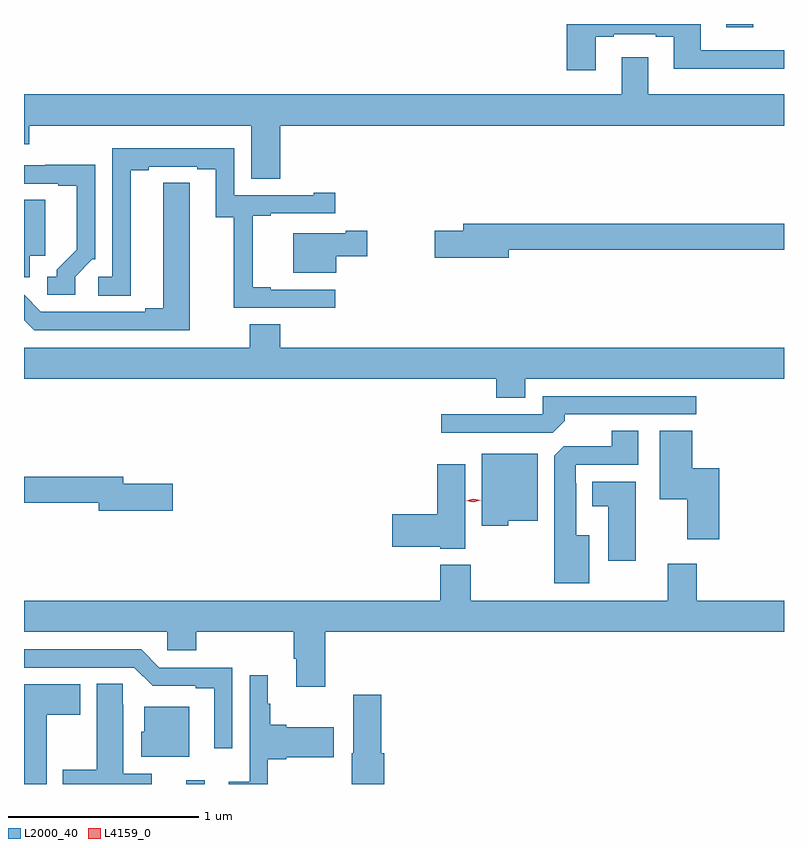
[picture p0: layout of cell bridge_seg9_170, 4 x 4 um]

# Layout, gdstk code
import gdstk
lib = gdstk.Library(unit=1e-6, precision=1e-09)
def R(c, l, rs):  # rectangles x0, y0, x1, y1
    for r in rs: c.add(gdstk.rectangle(r[:2], r[2:], *l))
def P(c, l, *ps):  # polygons
    for p in ps: c.add(gdstk.Polygon(p, *l))
L2000_40 = (2000, 40)
L4159_0 = (4159, 0)

bridge_seg9_170 = lib.new_cell('bridge_seg9_170')
R(bridge_seg9_170, L2000_40, [(215.087,1227.587,215.184,1227.607), (217.931,1231.569,218.071,1231.587)])
P(bridge_seg9_170, L2000_40, [(217.243,1231.521),(217.339,1231.521),(217.339,1231.533),(217.559,1231.533),(217.559,1231.521),(217.655,1231.521),(217.655,1231.352),(218.234,1231.352),(218.234,1231.449),(217.795,1231.449),(217.795,1231.587),(217.091,1231.587),(217.091,1231.344),(217.243,1231.344)],
  [(214.234,1230.954),(214.262,1230.954),(214.262,1231.052),(215.429,1231.052),(215.429,1230.772),(215.582,1230.772),(215.582,1231.052),(218.234,1231.052),(218.234,1231.216),(217.519,1231.216),(217.519,1231.411),(217.379,1231.411),(217.379,1231.216),(214.234,1231.216)],
  [(215.872,1230.189),(215.533,1230.189),(215.533,1230.202),(215.438,1230.202),(215.438,1230.579),(215.533,1230.579),(215.533,1230.591),(215.872,1230.591),(215.872,1230.7),(215.759,1230.7),(215.759,1230.687),(215.34,1230.687),(215.34,1230.933),(214.698,1230.933),(214.698,1230.258),(214.626,1230.258),(214.626,1230.157),(214.795,1230.157),(214.795,1230.817),(214.891,1230.817),(214.891,1230.837),(215.147,1230.837),(215.147,1230.822),(215.243,1230.822),(215.243,1230.571),(215.338,1230.571),(215.338,1230.093),(215.872,1230.093)],
  [(214.503,1230.258),(214.593,1230.348),(214.608,1230.348),(214.608,1230.845),(214.345,1230.845),(214.345,1230.843),(214.234,1230.843),(214.234,1230.747),(214.415,1230.747),(214.415,1230.735),(214.511,1230.735),(214.511,1230.398),(214.406,1230.293),(214.406,1230.258),(214.356,1230.258),(214.356,1230.162),(214.503,1230.162)],
  [(215.107,1230.644),(215.106,1230.644),(215.106,1230.752),(214.967,1230.752),(214.967,1230.092),(214.871,1230.092),(214.871,1230.072),(214.323,1230.072),(214.234,1230.161),(214.234,1230.029),(214.287,1229.976),(215.107,1229.976)],
  [(214.264,1230.368),(214.345,1230.368),(214.345,1230.662),(214.234,1230.662),(214.234,1230.253),(214.264,1230.253)],
  [(216.784,1230.4),(218.234,1230.4),(218.234,1230.536),(216.545,1230.536),(216.545,1230.5),(216.396,1230.5),(216.396,1230.358),(216.784,1230.358)],
  [(215.878,1230.365),(216.04,1230.365),(216.04,1230.5),(215.927,1230.5),(215.927,1230.487),(215.651,1230.487),(215.651,1230.278),(215.878,1230.278)],
  [(216.871,1229.72),(218.234,1229.72),(218.234,1229.884),(215.582,1229.884),(215.582,1230.008),(215.422,1230.008),(215.422,1229.884),(214.234,1229.884),(214.234,1229.72),(216.719,1229.72),(216.719,1229.621),(216.871,1229.621)],
  [(217.079,1229.498),(217.079,1229.532),(217.771,1229.532),(217.771,1229.628),(216.963,1229.628),(216.963,1229.532),(216.429,1229.532),(216.429,1229.436),(217.017,1229.436)],
  [(217.21,1228.897),(217.141,1228.897),(217.141,1229.171),(217.137,1229.171),(217.137,1229.268),(217.468,1229.268),(217.468,1229.447),(217.328,1229.447),(217.328,1229.364),(217.074,1229.364),(217.025,1229.315),(217.025,1228.643),(217.21,1228.643)],
  [(217.892,1229.248),(217.751,1229.248),(217.751,1229.446),(217.58,1229.446),(217.58,1229.086),(217.724,1229.086),(217.724,1228.875),(217.892,1228.875)],
  [(216.783,1228.973),(216.937,1228.973),(216.937,1229.326),(216.644,1229.326),(216.644,1228.946),(216.783,1228.946)],
  [(216.556,1229.269),(216.41,1229.269),(216.41,1229.006),(216.171,1229.006),(216.171,1228.835),(216.426,1228.835),(216.426,1228.826),(216.556,1228.826)],
  [(215.017,1229.168),(214.756,1229.168),(214.756,1229.204),(214.234,1229.204),(214.234,1229.068),(214.628,1229.068),(214.628,1229.026),(215.017,1229.026)],
  [(217.453,1229.179),(217.226,1229.179),(217.226,1229.048),(217.31,1229.048),(217.31,1228.761),(217.453,1228.761)],
  [(215.819,1228.388),(218.234,1228.388),(218.234,1228.552),(217.775,1228.552),(217.775,1228.747),(217.622,1228.747),(217.622,1228.552),(216.585,1228.552),(216.585,1228.741),(216.425,1228.741),(216.425,1228.552),(214.234,1228.552),(214.234,1228.388),(214.989,1228.388),(214.989,1228.29),(215.141,1228.29),(215.141,1228.388),(215.654,1228.388),(215.654,1228.246),(215.666,1228.246),(215.666,1228.098),(215.819,1228.098)],
  [(215.331,1228.2),(214.947,1228.2),(214.851,1228.296),(214.234,1228.296),(214.234,1228.2),(214.815,1228.2),(214.911,1228.104),(215.138,1228.104),(215.138,1228.092),(215.234,1228.092),(215.234,1227.774),(215.331,1227.774)],
  [(215.518,1227.716),(215.614,1227.716),(215.614,1227.728),(215.863,1227.728),(215.863,1227.886),(215.614,1227.886),(215.614,1227.899),(215.53,1227.899),(215.53,1228.01),(215.518,1228.01),(215.518,1228.159),(215.421,1228.159),(215.421,1227.598),(215.312,1227.598),(215.312,1227.587),(215.518,1227.587)],
  [(214.907,1227.642),(214.756,1227.642),(214.756,1228.004),(214.755,1228.004),(214.755,1228.115),(214.616,1228.115),(214.616,1227.663),(214.439,1227.663),(214.439,1227.587),(214.907,1227.587)],
  [(214.354,1227.952),(214.531,1227.952),(214.531,1228.111),(214.234,1228.111),(214.234,1227.587),(214.354,1227.587)],
  [(216.131,1227.75),(216.113,1227.75),(216.113,1228.057),(215.966,1228.057),(215.966,1227.75),(215.96,1227.75),(215.96,1227.587),(216.131,1227.587)],
  [(215.104,1227.994),(214.868,1227.994),(214.868,1227.861),(214.85,1227.861),(214.85,1227.731),(215.104,1227.731)])
P(bridge_seg9_170, L4159_0, [(216.599,1229.069),(216.561,1229.078),(216.561,1229.078),(216.561,1229.078),(216.599,1229.089),(216.638,1229.08),(216.638,1229.08),(216.638,1229.08)])

lib.write_gds('bridge_seg9_170.gds')
